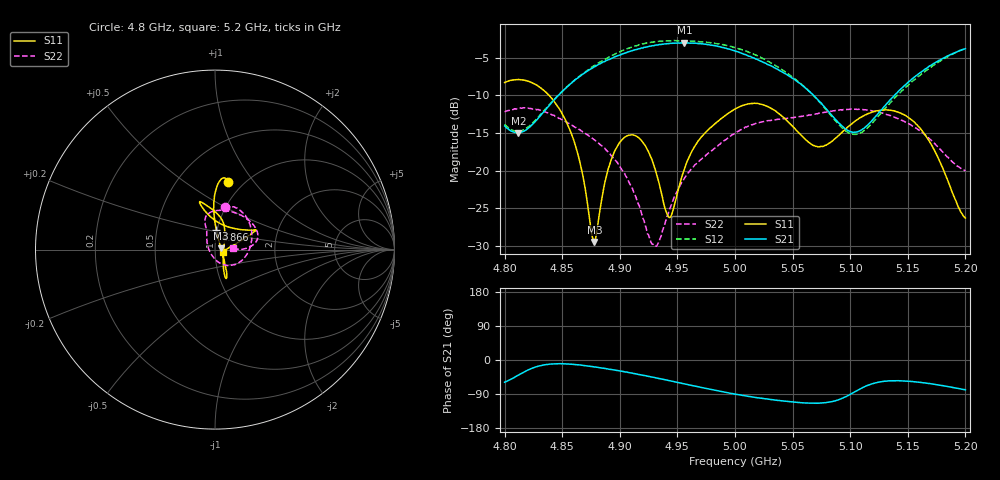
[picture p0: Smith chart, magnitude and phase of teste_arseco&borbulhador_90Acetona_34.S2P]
! Network Analyzer HP8722D
! Hewlett-Packard
! Data name: Linha & Wilkinson
! Saver's name: Rodrigo Anjos
! Comments: Teste da utilização de aquisição
! continua pelo VNA HP8722D
! Time and date: 17/4/2025 11:20
!  Frequency  S11  S21  S12  S22
# HZ  S  MA R 50
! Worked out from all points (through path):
!   401 points, 4.8 GHz to 5.2 GHz, reference 50 ohm
!   highest |S21| = -3.00 dB at 4.956 GHz (marker M1); lowest = -15.0 dB at 4.812 GHz (marker M2)
!   lowest |S11| = -29.5 dB at 4.878 GHz (marker M3), VSWR 1.07, Z = 53.4 + j0.658 ohm
!   |S11| at or under -10 dB: 4.839 GHz to end of sweep
!   |S22| runs from -30.1 to -11.6 dB; largest |S21 - S12| = 1.4
!   S11 on the Smith chart (normalised r, x): 4.8 GHz: 0.85, +0.75; 4.866 GHz: 0.99, +0.22; 5.2 GHz: 1.10, -0.03
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4.8e9  0.3852 79.0  0.198 -58.8  0.2027 76.2  0.2452 77.2
4.812e9  0.4036 82.6  0.1779 -39.8  0.1824 93.5  0.2594 66.7
4.845e9  0.2747 91.1  0.3069 -9.8  0.3083 123.1  0.2287 26.8
4.857e9  0.1839 91.4  0.3768 -10.9  0.3779 123.9  0.203 9.2
4.866e9  0.1082 85.7  0.4268 -13.5  0.4304 122.8  0.185 -4.6
4.867e9  0.09993 84.5  0.4335 -13.9  0.435 122.8  0.1829 -5.9
4.878e9  0.03351 10.6  0.4904 -18.4  0.4995 120.4  0.1603 -23.0
4.891e9  0.1084 -57.7  0.5493 -24.5  0.5716 116.2  0.13 -41.3
4.904e9  0.1661 -66.4  0.6026 -30.9  0.6353 110.7  0.0961 -60.2
4.92e9  0.154 -69.5  0.6525 -40.4  0.6987 101.9  0.04816 -95.9
4.928e9  0.1177 -66.0  0.677 -45.1  0.7154 97.0  0.0324 -136.7
4.934e9  0.08286 -56.3  0.6897 -48.9  0.7253 93.2  0.03363 179.7
4.944e9  0.04898 5.0  0.7023 -55.2  0.7301 86.7  0.0571 139.5
4.956e9  0.1019 57.8  0.7078 -62.8  0.7305 79.2  0.08873 121.0
4.97e9  0.1641 75.1  0.699 -72.0  0.7194 70.2  0.1177 113.5
5e9  0.2564 102.1  0.6258 -90.2  0.6597 50.8  0.1775 108.3
5.029e9  0.2654 107.9  0.5059 -103.5  0.5323 35.1  0.2149 92.1
5.067e9  0.1486 79.5  0.3237 -114.1  0.3213 26.7  0.2355 58.3
5.103e9  0.2097 31.2  0.1797 -85.6  0.1742 58.3  0.2563 26.5
5.134e9  0.252 25.3  0.2913 -55.0  0.2777 91.1  0.2329 10.8
5.164e9  0.1771 20.9  0.4669 -60.1  0.4505 87.7  0.1757 2.4
5.2e9  0.0483 -17.1  0.6472 -78.7  0.6493 70.5  0.09948 4.9
